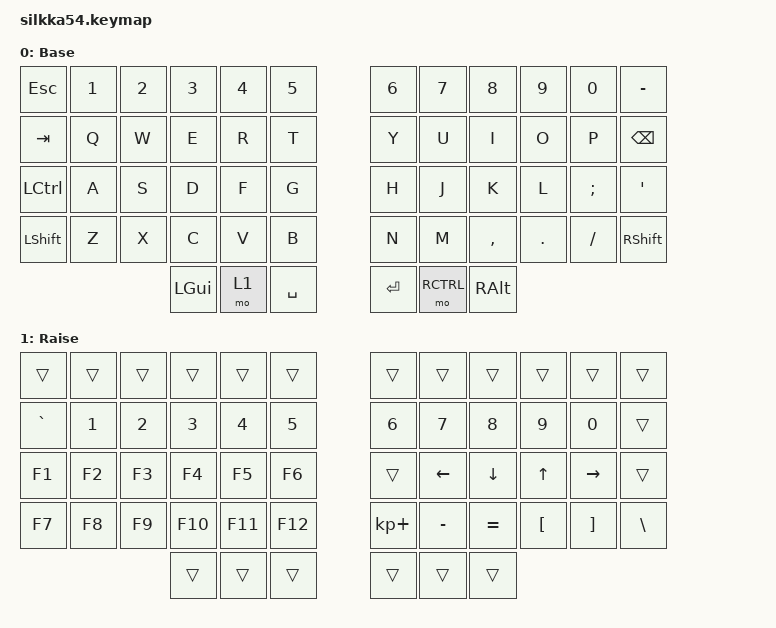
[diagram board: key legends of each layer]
/*
 * Copyright (c) 2020 The ZMK Contributors
 *
 * SPDX-License-Identifier: MIT
 */

#include <behaviors.dtsi>
#include <dt-bindings/zmk/keys.h>
#include <dt-bindings/zmk/bt.h>
#include <dt-bindings/zmk/ext_power.h>

/ {
    keymap {
        compatible = "zmk,keymap";

        default_layer {
// ------------------------------------------------------------------------------------------------------------
// |  ESC  |  1  |  2  |  3   |  4   |  5   |                   |  6   |  7    |  8    |  9   |   0   |   `   |
// |  TAB  |  Q  |  W  |  E   |  R   |  T   |                   |  Y   |  U    |  I    |  O   |   P   |   -   |
// |  CTRL |  A  |  S  |  D   |  F   |  G   |                   |  H   |  J    |  K    |  L   |   ;   |   '   |
// | SHIFT |  Z  |  X  |  C   |  V   |  B   |   "["  |  |  "]"  |  N   |  M    |  ,    |  .   |   /   | SHIFT |
//                     | ALT  | GUI  | LOWER|  SPACE |  | ENTER | RAISE| BSPC  | GUI   |
            display-name = "Base";
            bindings = <
&kp ESC   &kp N1 &kp N2 &kp N3   &kp N4   &kp N5                     &kp N6 &kp N7   &kp N8    &kp N9  &kp N0   &kp MINUS
&kp TAB   &kp Q  &kp W  &kp E    &kp R    &kp T                      &kp Y  &kp U    &kp I     &kp O   &kp P    &kp BSPC
&kp LCTRL &kp A  &kp S  &kp D    &kp F    &kp G                      &kp H  &kp J    &kp K     &kp L   &kp SEMI &kp SQT
&kp LSHFT &kp Z  &kp X  &kp C    &kp V    &kp B  		      &kp N  &kp M    &kp COMMA &kp DOT &kp FSLH &kp RSHFT
                	 	  &kp LGUI &mo 1  &kp SPACE           &kp RET  &mo RCTRL   &kp RALT
            >;

   
        };

       
        raise_layer {
// ------------------------------------------------------------------------------------------------------------
// |       |     |     |      |      |      |                   |      |       |       |      |       |       |
// |   `   |  1  |  2  |  3   |  4   |  5   |                   |  6   |   7   |   8   |  9   |   0   |       |
// |   F1  |  F2 |  F3 |  F4  |  F5  |  F6  |                   |      |   <-  |   v   |  ^   |  ->   |       |
// |   F7  |  F8 |  F9 |  F10 |  F11 |  F12 |        |  |       |  +   |   -   |   =   |  [   |   ]   |   \   |
//                     |      |      |      |        |  |       |      |       |       |
            display-name = "Raise";
            bindings = <
&trans    &trans &trans &trans  &trans  &trans                       &trans      &trans    &trans    &trans   &trans    &trans
&kp GRAVE &kp N1 &kp N2 &kp N3  &kp N4  &kp N5                       &kp N6      &kp N7    &kp N8    &kp N9   &kp N0    &trans
&kp F1    &kp F2 &kp F3 &kp F4  &kp F5  &kp F6                       &trans      &kp LEFT  &kp DOWN  &kp UP   &kp RIGHT &trans
&kp F7    &kp F8 &kp F9 &kp F10 &kp F11 &kp F12   		     &kp KP_PLUS &kp MINUS &kp EQUAL &kp LBKT &kp RBKT  &kp BSLH
                      		&trans  &trans  &trans        &trans &trans &trans
            >;

           
        };


    };
};
